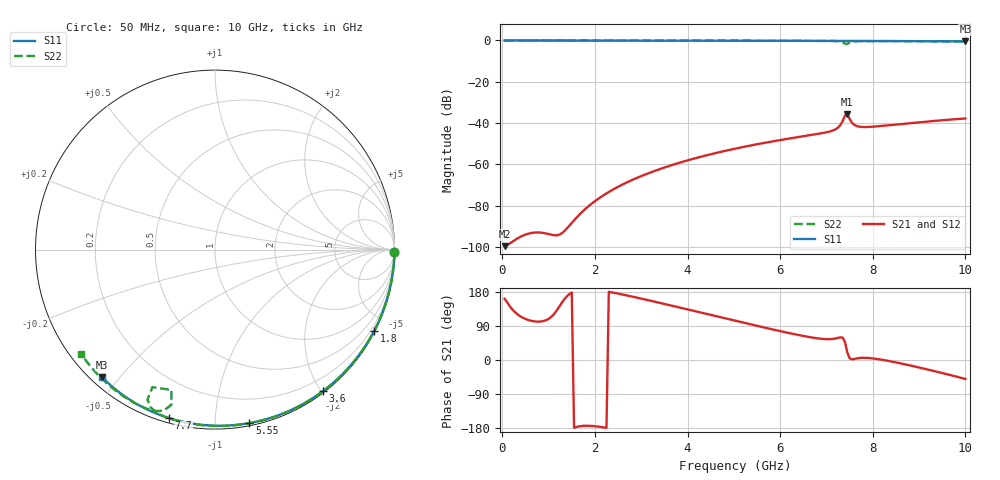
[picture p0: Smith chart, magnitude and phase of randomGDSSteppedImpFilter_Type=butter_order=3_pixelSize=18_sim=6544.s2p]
! freq	dB(S11)	phase(S11)	dB(S12)	phase(S12)
!  dB(S21)	phase(S21)	dB(S22)	phase(S22)
!S-par simulation data
#  GHz  S  DB  R 50
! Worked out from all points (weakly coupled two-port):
!   200 points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, 50 MHz to 10 GHz, reference 50 ohm
!   highest |S21| = -35.75 dB at 7.45 GHz (marker M1); lowest = -99.7 dB at 50 MHz (marker M2)
!   lowest |S11| = -0.5 dB at 10 GHz (marker M3), VSWR 38.13, Z = 1.58 - j22.5 ohm
!   |S11| at or under -10 dB: nowhere
!   |S22| runs from -1.7 to 0.0 dB; largest |S21 - S12| = 0
!   S11 on the Smith chart (normalised r, x): 50 MHz: open; 1.8 GHz: 0.04, -4.17; 3.6 GHz: 0.02, -2.02; 5.55 GHz: 0.02, -1.22; 7.7 GHz: 0.02, -0.76; 10 GHz: 0.03, -0.45
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0.05  -0.00 -0.8  -99.66 161.5  -99.66 161.5  -0.00 -0.8
0.9  -0.02 -13.6  -93.29 103.2  -93.29 103.2  -0.02 -14.8
1.75  -0.03 -26.2  -82.51 -173.7  -82.51 -173.7  -0.04 -28.5
1.8  -0.03 -27.0  -81.48 -173.5  -81.48 -173.5  -0.04 -29.3
1.9  -0.04 -28.4  -79.59 -173.7  -79.59 -173.7  -0.04 -30.8
2.25  -0.04 -33.5  -74.08 -179.0  -74.08 -179.0  -0.05 -36.4
2.65  -0.05 -39.3  -69.19 171.4  -69.19 171.4  -0.05 -42.6
3.4  -0.07 -49.9  -62.33 150.8  -62.33 150.8  -0.07 -54.1
3.6  -0.07 -52.7  -60.82 145.1  -60.82 145.1  -0.08 -57.1
5.05  -0.11 -72.3  -52.31 103.0  -52.31 103.0  -0.12 -78.3
5.55  -0.13 -78.8  -50.07 88.7  -50.07 88.7  -0.14 -85.3
6.7  -0.18 -93.2  -45.71 59.1  -45.71 59.1  -0.20 -101.3
7.2  -0.21 -99.2  -42.99 56.9  -42.99 56.9  -0.30 -109.6
7.3  -0.22 -100.4  -41.01 59.9  -41.01 59.9  -0.47 -112.4
7.35  -0.22 -101.0  -39.04 58.9  -39.04 58.9  -0.75 -114.2
7.4  -0.22 -101.6  -36.36 47.3  -36.36 47.3  -1.50 -114.5
7.45  -0.22 -102.2  -35.75 20.2  -35.75 20.2  -1.74 -107.2
7.5  -0.22 -102.8  -37.98 4.6  -37.98 4.6  -0.93 -105.7
7.55  -0.23 -103.4  -39.82 1.9  -39.82 1.9  -0.58 -107.4
7.7  -0.24 -105.2  -41.73 5.0  -41.73 5.0  -0.34 -111.3
8.35  -0.29 -112.8  -41.08 -2.7  -41.08 -2.7  -0.32 -121.0
10  -0.46 -131.6  -37.80 -50.0  -37.80 -50.0  -0.49 -142.2
